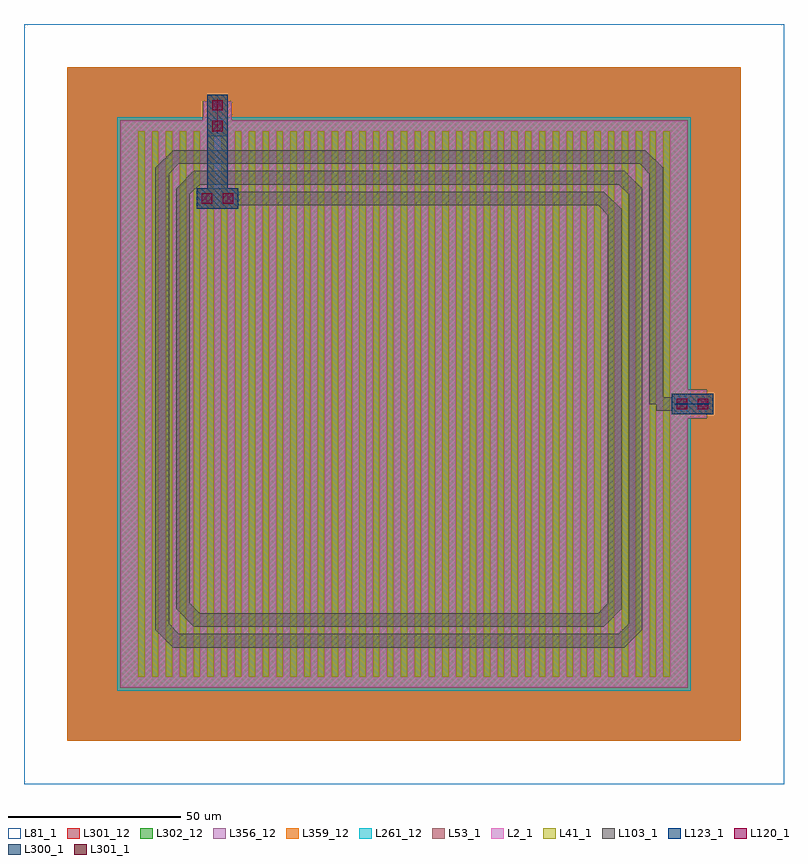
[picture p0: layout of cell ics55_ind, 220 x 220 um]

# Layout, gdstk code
import gdstk
lib = gdstk.Library(unit=1e-6, precision=1e-09)
def R(c, l, rs):  # rectangles x0, y0, x1, y1
    for r in rs: c.add(gdstk.rectangle(r[:2], r[2:], *l))
def A(c, l, x, y, w, h, nx, ny, dx, dy):  # array of equal rectangles
    R(c, l, [(x+i*dx, y+j*dy, x+i*dx+w, y+j*dy+h) for i in range(nx) for j in range(ny)])
def P(c, l, *ps):  # polygons
    for p in ps: c.add(gdstk.Polygon(p, *l))
L2_1 = (2, 1)
L41_1 = (41, 1)
L53_1 = (53, 1)
L81_1 = (81, 1)
L103_1 = (103, 1)
L120_1 = (120, 1)
L123_1 = (123, 1)
L261_12 = (261, 12)
L300_1 = (300, 1)
L301_1 = (301, 1)
L301_12 = (301, 12)
L302_12 = (302, 12)
L356_12 = (356, 12)
L359_12 = (359, 12)

ics55_ind = lib.new_cell('ics55_ind')
A(ics55_ind, L2_1, -79, -79, 2, 158, 40, 1, 4, 0)
R(ics55_ind, L2_1, [(-82,-82,82,-79), (-82,-79,-79,79), (79,-79,82,79), (79.5,-4,87.5,4), (-82,79,82,82), (-58,79.5,-50,87.5)])
A(ics55_ind, L41_1, -76.9, -79, 1.8, 158, 39, 1, 4, 0)
R(ics55_ind, L53_1, [(-82.2,-82.2,82.2,82.2), (79.3,-4.2,87.7,4.2), (-58.2,79.3,-49.8,87.7)])
R(ics55_ind, L81_1, [(-110,-110,110,110)])
R(ics55_ind, L103_1, [(77.5,-3,89.5,3), (73,-2,77.5,2), (-60,56.5,-48,62.5), (-57,77.5,-51,89.5)])
P(ics55_ind, L103_1, [(-66.828,-70.5),(-72,-65.328),(-72,68.328),(-66.828,73.5),(69.828,73.5),(75,68.328),(75,0),(71,0),(71,66.672),(68.172,69.5),(-65.172,69.5),(-68,66.672),(-68,-63.672),(-65.172,-66.5),(62.172,-66.5),(65,-63.672),(65,60.672),(62.172,63.5),(-59.172,63.5),(-62,60.672),(-62,-57.672),(-59.172,-60.5),(56.172,-60.5),(59,-57.672),(59,54.672),(56.172,57.5),(-58,57.5),(-58,61.5),(57.828,61.5),(63,56.328),(63,-59.328),(57.828,-64.5),(-60.828,-64.5),(-66,-59.328),(-66,62.328),(-60.828,67.5),(63.828,67.5),(69,62.328),(69,-65.328),(63.828,-70.5)])
R(ics55_ind, L120_1, [(79,-1.5,82,1.5), (85,-1.5,88,1.5), (-58.5,58,-55.5,61), (-52.5,58,-49.5,61), (-55.5,79,-52.5,82), (-55.5,85,-52.5,88)])
R(ics55_ind, L123_1, [(77.5,-3,89.5,3), (-60,56.5,-48,62.5), (-57,59.5,-51,83.5), (-57,77.5,-51,89.5)])
R(ics55_ind, L261_12, [(-83,-83,83,83)])
R(ics55_ind, L300_1, [(78.5,-0.005,88.5,0.005)])
R(ics55_ind, L301_1, [(-54.005,78.5,-53.995,88.5)])
R(ics55_ind, L301_12, [(-97.5,-97.5,97.5,97.5)])
R(ics55_ind, L302_12, [(-97.5,-97.5,97.5,97.5)])
R(ics55_ind, L356_12, [(-97.5,-97.5,97.5,97.5)])
R(ics55_ind, L359_12, [(-97.5,-97.5,97.5,97.5)])

lib.write_gds('ics55_ind.gds')
